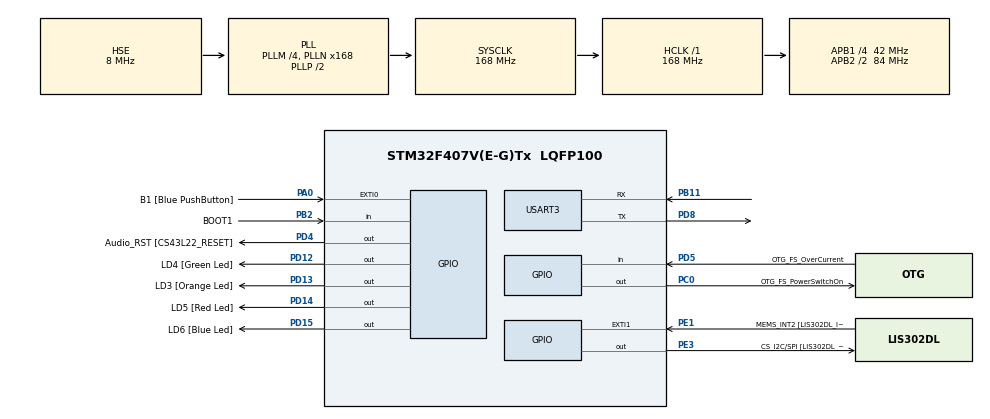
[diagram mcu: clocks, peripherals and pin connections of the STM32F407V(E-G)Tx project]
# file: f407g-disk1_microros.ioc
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Dma.Request0=USART3_RX
Dma.Request1=USART3_TX
Dma.USART3_RX.0.Direction=DMA_PERIPH_TO_MEMORY
Dma.USART3_RX.0.FIFOMode=DMA_FIFOMODE_DISABLE
Dma.USART3_RX.0.Instance=DMA1_Stream1
Dma.USART3_RX.0.MemDataAlignment=DMA_MDATAALIGN_BYTE
Dma.USART3_RX.0.MemInc=DMA_MINC_ENABLE
Dma.USART3_RX.0.Mode=DMA_CIRCULAR
Dma.USART3_RX.0.PeriphDataAlignment=DMA_PDATAALIGN_BYTE
Dma.USART3_RX.0.PeriphInc=DMA_PINC_DISABLE
Dma.USART3_RX.0.Priority=DMA_PRIORITY_VERY_HIGH
Dma.USART3_TX.1.Direction=DMA_MEMORY_TO_PERIPH
Dma.USART3_TX.1.FIFOMode=DMA_FIFOMODE_DISABLE
Dma.USART3_TX.1.Instance=DMA1_Stream3
Dma.USART3_TX.1.MemDataAlignment=DMA_MDATAALIGN_BYTE
Dma.USART3_TX.1.MemInc=DMA_MINC_ENABLE
Dma.USART3_TX.1.Mode=DMA_NORMAL
Dma.USART3_TX.1.PeriphDataAlignment=DMA_PDATAALIGN_BYTE
Dma.USART3_TX.1.PeriphInc=DMA_PINC_DISABLE
Dma.USART3_TX.1.Priority=DMA_PRIORITY_VERY_HIGH
FREERTOS.Tasks01=defaultTask,24,3000,StartDefaultTask,Default,NULL,Static,defaultTaskBuffer,defaultTaskControlBlock
Mcu.Family=STM32F4
Mcu.Name=STM32F407V(E-G)Tx
Mcu.Package=LQFP100
NVIC.DMA1_Stream1_IRQn=true\:5\:0\:false\:false\:true\:true\:false\:true\:true
NVIC.DMA1_Stream3_IRQn=true\:5\:0\:false\:false\:true\:true\:false\:true\:true
NVIC.PriorityGroup=NVIC_PRIORITYGROUP_4
NVIC.TIM1_UP_TIM10_IRQn=true\:15\:0\:false\:false\:true\:false\:false\:true\:true
NVIC.TimeBase=TIM1_UP_TIM10_IRQn
NVIC.TimeBaseIP=TIM1
NVIC.USART3_IRQn=true\:5\:0\:false\:false\:true\:true\:true\:true\:true
PA0-WKUP.GPIO_Label=B1 [Blue PushButton]
PA0-WKUP.Signal=GPXTI0
PA10.GPIO_Label=OTG_FS_ID
PA10.GPIO_Mode=GPIO_MODE_AF_PP
PA10.GPIO_PuPd=GPIO_NOPULL
PA10.GPIO_Speed=GPIO_SPEED_FREQ_LOW
PA10.Signal=USB_OTG_FS_ID
PA11.GPIO_Label=OTG_FS_DM
PA11.GPIO_Mode=GPIO_MODE_AF_PP
PA11.GPIO_PuPd=GPIO_NOPULL
PA11.GPIO_Speed=GPIO_SPEED_FREQ_LOW
PA11.Signal=USB_OTG_FS_DM
PA12.GPIO_Label=OTG_FS_DP
PA12.GPIO_Mode=GPIO_MODE_AF_PP
PA12.GPIO_PuPd=GPIO_NOPULL
PA12.GPIO_Speed=GPIO_SPEED_FREQ_LOW
PA12.Signal=USB_OTG_FS_DP
PA13.GPIO_Label=SWDIO
PA13.Mode=Serial_Wire
PA13.Signal=SYS_JTMS-SWDIO
PA14.GPIO_Label=SWCLK
PA14.Mode=Serial_Wire
PA14.Signal=SYS_JTCK-SWCLK
PA4.GPIO_Label=I2S3_WS [CS43L22_LRCK]
PA4.GPIO_Mode=GPIO_MODE_AF_PP
PA4.GPIO_PuPd=GPIO_NOPULL
PA4.GPIO_Speed=GPIO_SPEED_FREQ_LOW
PA4.Signal=I2S3_WS
PA5.GPIO_Label=SPI1_SCK [LIS302DL_SCL/SPC]
PA5.GPIO_Mode=GPIO_MODE_AF_PP
PA5.GPIO_PuPd=GPIO_NOPULL
PA5.GPIO_Speed=GPIO_SPEED_FREQ_LOW
PA5.Signal=SPI1_SCK
PA6.GPIO_Label=SPI1_MISO [LIS302DL_SDO]
PA6.GPIO_Mode=GPIO_MODE_AF_PP
PA6.GPIO_PuPd=GPIO_NOPULL
PA6.GPIO_Speed=GPIO_SPEED_FREQ_LOW
PA6.Signal=SPI1_MISO
PA7.GPIO_Label=SPI1_MOSI [LIS302DL_SDA/SDI/SDO]
PA7.GPIO_Mode=GPIO_MODE_AF_PP
PA7.GPIO_PuPd=GPIO_NOPULL
PA7.GPIO_Speed=GPIO_SPEED_FREQ_LOW
PA7.Signal=SPI1_MOSI
PA9.GPIO_Label=VBUS_FS
PA9.GPIO_Mode=GPIO_MODE_INPUT
PA9.GPIO_PuPd=GPIO_NOPULL
PA9.Signal=USB_OTG_FS_VBUS
PB10.GPIO_Label=CLK_IN [MP45DT02_CLK]
PB10.GPIO_Mode=GPIO_MODE_AF_PP
PB10.GPIO_PuPd=GPIO_NOPULL
PB10.GPIO_Speed=GPIO_SPEED_FREQ_LOW
PB10.Signal=I2S2_CK
PB11.Mode=Asynchronous
PB11.Signal=USART3_RX
PB2.GPIO_Label=BOOT1
PB2.GPIO_Mode=GPIO_MODE_INPUT
PB2.GPIO_PuPd=GPIO_NOPULL
PB2.Signal=GPIO_Input
PB3.GPIO_Label=SWO
PB3.Signal=SYS_JTDO-SWO
PB6.GPIO_Label=Audio_SCL [CS43L22_SCL]
PB6.GPIO_Mode=GPIO_MODE_AF_OD
PB6.GPIO_PuPd=GPIO_NOPULL
PB6.GPIO_Speed=GPIO_SPEED_FREQ_LOW
PB6.Signal=I2C1_SCL
PB9.GPIO_Label=Audio_SDA [CS43L22_SDA]
PB9.GPIO_Mode=GPIO_MODE_AF_OD
PB9.GPIO_PuPd=GPIO_NOPULL
PB9.GPIO_Speed=GPIO_SPEED_FREQ_LOW
PB9.Signal=I2C1_SDA
PC0.GPIO_Label=OTG_FS_PowerSwitchOn
PC0.GPIO_PuPd=GPIO_NOPULL
PC0.GPIO_Speed=GPIO_SPEED_FREQ_LOW
PC0.PinState=GPIO_PIN_SET
PC0.Signal=GPIO_Output
PC10.GPIO_Label=I2S3_SCK [CS43L22_SCLK]
PC10.GPIO_Mode=GPIO_MODE_AF_PP
PC10.GPIO_PuPd=GPIO_NOPULL
PC10.GPIO_Speed=GPIO_SPEED_FREQ_LOW
PC10.Signal=I2S3_CK
PC12.GPIO_Label=I2S3_SD [CS43L22_SDIN]
PC12.GPIO_Mode=GPIO_MODE_AF_PP
PC12.GPIO_PuPd=GPIO_NOPULL
PC12.GPIO_Speed=GPIO_SPEED_FREQ_LOW
PC12.Signal=I2S3_SD
PC14-OSC32_IN.GPIO_Label=PC14-OSC32_IN
PC14-OSC32_IN.Signal=RCC_OSC32_IN
PC15-OSC32_OUT.GPIO_Label=PC15-OSC32_OUT
PC15-OSC32_OUT.Signal=RCC_OSC32_OUT
PC3.GPIO_Label=PDM_OUT [MP45DT02_DOUT]
PC3.GPIO_Mode=GPIO_MODE_AF_PP
PC3.GPIO_PuPd=GPIO_NOPULL
PC3.GPIO_Speed=GPIO_SPEED_FREQ_LOW
PC3.Signal=I2S2_SD
PC7.GPIO_Label=I2S3_MCK [CS43L22_MCLK]
PC7.GPIO_Mode=GPIO_MODE_AF_PP
PC7.GPIO_PuPd=GPIO_NOPULL
PC7.GPIO_Speed=GPIO_SPEED_FREQ_LOW
PC7.Signal=I2S3_MCK
PD12.GPIO_Label=LD4 [Green Led]
PD12.GPIO_PuPd=GPIO_NOPULL
PD12.GPIO_Speed=GPIO_SPEED_FREQ_LOW
PD12.Signal=GPIO_Output
PD13.GPIO_Label=LD3 [Orange Led]
PD13.GPIO_PuPd=GPIO_NOPULL
PD13.GPIO_Speed=GPIO_SPEED_FREQ_LOW
PD13.Signal=GPIO_Output
PD14.GPIO_Label=LD5 [Red Led]
PD14.GPIO_PuPd=GPIO_NOPULL
PD14.GPIO_Speed=GPIO_SPEED_FREQ_LOW
PD14.Signal=GPIO_Output
PD15.GPIO_Label=LD6 [Blue Led]
PD15.GPIO_PuPd=GPIO_NOPULL
PD15.GPIO_Speed=GPIO_SPEED_FREQ_LOW
PD15.Signal=GPIO_Output
PD4.GPIO_Label=Audio_RST [CS43L22_RESET]
PD4.GPIO_PuPd=GPIO_NOPULL
PD4.GPIO_Speed=GPIO_SPEED_FREQ_LOW
PD4.Signal=GPIO_Output
PD5.GPIO_Label=OTG_FS_OverCurrent
PD5.GPIO_Mode=GPIO_MODE_INPUT
PD5.GPIO_PuPd=GPIO_NOPULL
PD5.Signal=GPIO_Input
PD8.Mode=Asynchronous
PD8.Signal=USART3_TX
PE1.GPIO_Label=MEMS_INT2 [LIS302DL_INT2]
PE1.GPIO_ModeDefaultEXTI=GPIO_MODE_EVT_RISING
PE1.GPIO_PuPd=GPIO_NOPULL
PE1.Signal=GPXTI1
PE3.GPIO_Label=CS_I2C/SPI [LIS302DL_CS_I2C/SPI]
PE3.GPIO_PuPd=GPIO_NOPULL
PE3.GPIO_Speed=GPIO_SPEED_FREQ_LOW
PE3.Signal=GPIO_Output
PH0-OSC_IN.GPIO_Label=PH0-OSC_IN
PH0-OSC_IN.Mode=HSE-External-Oscillator
PH0-OSC_IN.Signal=RCC_OSC_IN
PH1-OSC_OUT.GPIO_Label=PH1-OSC_OUT
PH1-OSC_OUT.Mode=HSE-External-Oscillator
PH1-OSC_OUT.Signal=RCC_OSC_OUT
ProjectManager.HeapSize=0x200
ProjectManager.StackSize=0x400
ProjectManager.TargetToolchain=Makefile
RCC.48MHZClocksFreq_Value=48000000
RCC.AHBFreq_Value=168000000
RCC.APB1CLKDivider=RCC_HCLK_DIV4
RCC.APB1Freq_Value=42000000
RCC.APB1TimFreq_Value=84000000
RCC.APB2CLKDivider=RCC_HCLK_DIV2
RCC.APB2Freq_Value=84000000
RCC.APB2TimFreq_Value=168000000
RCC.CortexFreq_Value=168000000
RCC.HCLKFreq_Value=168000000
RCC.HSE_VALUE=8000000
RCC.HSI_VALUE=16000000
RCC.LSE_VALUE=32768
RCC.PLLM=4
RCC.PLLN=168
RCC.PLLQ=7
RCC.PLLSourceVirtual=RCC_PLLSOURCE_HSE
RCC.SYSCLKFreq_VALUE=168000000
RCC.SYSCLKSource=RCC_SYSCLKSOURCE_PLLCLK
RCC.VCOOutputFreq_Value=336000000
USART3.VirtualMode=VM_ASYNC
VP_FREERTOS_VS_CMSIS_V2.Mode=CMSIS_V2
VP_SYS_VS_tim1.Mode=TIM1
board=STM32F407G-DISC1

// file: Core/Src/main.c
/* USER CODE BEGIN Header */
/**
  ******************************************************************************
  * @file           : main.c
  * @brief          : Main program body
  ******************************************************************************
  * @attention
  *
  * Copyright (c) 2023 STMicroelectronics.
  * All rights reserved.
  *
  * This software is licensed under terms that can be found in the LICENSE file
  * in the root directory of this software component.
  * If no LICENSE file comes with this software, it is provided AS-IS.
  *
  ******************************************************************************
  */
/* USER CODE END Header */
#include "main.h"
#include "cmsis_os.h"
#include "dma.h"
#include "usart.h"
#include "gpio.h"

void SystemClock_Config(void);
void MX_FREERTOS_Init(void);

int main(void)
{

  /* MCU Configuration--------------------------------------------------------*/

  /* Reset of all peripherals, Initializes the Flash interface and the Systick. */
  HAL_Init();

  /* Configure the system clock */
  SystemClock_Config();

  /* Initialize all configured peripherals */
  MX_GPIO_Init();
  MX_DMA_Init();
  MX_USART3_UART_Init();

  /* Init scheduler */
  osKernelInitialize();  /* Call init function for freertos objects (in freertos.c) */
  MX_FREERTOS_Init();

  /* Start scheduler */
  osKernelStart();

  /* We should never get here as control is now taken by the scheduler */
  /* Infinite loop */
  while (1)
  {

  }
}

void SystemClock_Config(void)
{
  RCC_OscInitTypeDef RCC_OscInitStruct = {0};
  RCC_ClkInitTypeDef RCC_ClkInitStruct = {0};

  /** Configure the main internal regulator output voltage
  */
  __HAL_RCC_PWR_CLK_ENABLE();
  __HAL_PWR_VOLTAGESCALING_CONFIG(PWR_REGULATOR_VOLTAGE_SCALE1);

  /** Initializes the RCC Oscillators according to the specified parameters
  * in the RCC_OscInitTypeDef structure.
  */
  RCC_OscInitStruct.OscillatorType = RCC_OSCILLATORTYPE_HSE;
  RCC_OscInitStruct.HSEState = RCC_HSE_ON;
  RCC_OscInitStruct.PLL.PLLState = RCC_PLL_ON;
  RCC_OscInitStruct.PLL.PLLSource = RCC_PLLSOURCE_HSE;
  RCC_OscInitStruct.PLL.PLLM = 4;
  RCC_OscInitStruct.PLL.PLLN = 168;
  RCC_OscInitStruct.PLL.PLLP = RCC_PLLP_DIV2;
  RCC_OscInitStruct.PLL.PLLQ = 7;
  if (HAL_RCC_OscConfig(&RCC_OscInitStruct) != HAL_OK)
  {
    Error_Handler();
  }

  /** Initializes the CPU, AHB and APB buses clocks
  */
  RCC_ClkInitStruct.ClockType = RCC_CLOCKTYPE_HCLK|RCC_CLOCKTYPE_SYSCLK
                              |RCC_CLOCKTYPE_PCLK1|RCC_CLOCKTYPE_PCLK2;
  RCC_ClkInitStruct.SYSCLKSource = RCC_SYSCLKSOURCE_PLLCLK;
  RCC_ClkInitStruct.AHBCLKDivider = RCC_SYSCLK_DIV1;
  RCC_ClkInitStruct.APB1CLKDivider = RCC_HCLK_DIV4;
  RCC_ClkInitStruct.APB2CLKDivider = RCC_HCLK_DIV2;

  if (HAL_RCC_ClockConfig(&RCC_ClkInitStruct, FLASH_LATENCY_5) != HAL_OK)
  {
    Error_Handler();
  }
}

void HAL_TIM_PeriodElapsedCallback(TIM_HandleTypeDef *htim)
{
  if (htim->Instance == TIM1) {
    HAL_IncTick();
  }
}

void Error_Handler(void)
{
  __disable_irq();
  while (1)
  {
  }
}

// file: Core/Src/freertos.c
/* USER CODE BEGIN Header */
/**
  ******************************************************************************
  * File Name          : freertos.c
  * Description        : Code for freertos applications
  ******************************************************************************
  * @attention
  *
  * Copyright (c) 2023 STMicroelectronics.
  * All rights reserved.
  *
  * This software is licensed under terms that can be found in the LICENSE file
  * in the root directory of this software component.
  * If no LICENSE file comes with this software, it is provided AS-IS.
  *
  ******************************************************************************
  */
/* USER CODE END Header */

#include "FreeRTOS.h"
#include "task.h"
#include "main.h"
#include "cmsis_os.h"

/* USER CODE BEGIN Includes */
#include <stdbool.h>
#include <rcl/rcl.h>
#include <rcl/error_handling.h>
#include <rclc/rclc.h>
#include <rclc/executor.h>
#include <uxr/client/transport.h>
#include <rmw_microxrcedds_c/config.h>
#include <rmw_microros/rmw_microros.h>

#include <std_msgs/msg/int32.h>
#include <example_interfaces/srv/add_two_ints.h>

#include "usart.h"
/* USER CODE END Includes */

typedef StaticTask_t osStaticThreadDef_t;

/* USER CODE BEGIN Variables */
//osThreadId_t publisherTaskHandle;
//uint32_t publisherTaskBuffer[ 500 ];
//osStaticThreadDef_t publisherTaskControlBlock;
//const osThreadAttr_t publisherTask_attributes = {
//  .name = "publisherTask",
//  .cb_mem = &publisherTaskControlBlock,
//  .cb_size = sizeof(publisherTaskControlBlock),
//  .stack_mem = &publisherTaskBuffer[0],
//  .stack_size = sizeof(publisherTaskBuffer),
//  .priority = (osPriority_t) osPriorityNormal,
//};
//
//osThreadId_t another_publisherTaskHandle;
//uint32_t another_publisherTaskBuffer[ 500 ];
//osStaticThreadDef_t another_publisherTaskControlBlock;
//const osThreadAttr_t another_publisherTask_attributes = {
//  .name = "another_publisherTask",
//  .cb_mem = &another_publisherTaskControlBlock,
//  .cb_size = sizeof(another_publisherTaskControlBlock),
//  .stack_mem = &another_publisherTaskBuffer[0],
//  .stack_size = sizeof(another_publisherTaskBuffer),
//  .priority = (osPriority_t) osPriorityNormal,
//};

//BaseType_t xReturned;
//TaskHandle_t xHandle = NULL;

/* USER CODE END Variables */
/* Definitions for defaultTask */
osThreadId_t defaultTaskHandle;
uint32_t defaultTaskBuffer[ 500 ];
osStaticThreadDef_t defaultTaskControlBlock;
const osThreadAttr_t defaultTask_attributes = {
  .name = "defaultTask",
  .cb_mem = &defaultTaskControlBlock,
  .cb_size = sizeof(defaultTaskControlBlock),
  .stack_mem = &defaultTaskBuffer[0],
  .stack_size = sizeof(defaultTaskBuffer),
  .priority = (osPriority_t) osPriorityNormal,
};

/* USER CODE BEGIN FunctionPrototypes */
bool cubemx_transport_open(struct uxrCustomTransport * transport);
bool cubemx_transport_close(struct uxrCustomTransport * transport);
size_t cubemx_transport_write(struct uxrCustomTransport* transport, const uint8_t * buf, size_t len, uint8_t * err);
size_t cubemx_transport_read(struct uxrCustomTransport* transport, uint8_t* buf, size_t len, int timeout, uint8_t* err);

void * microros_allocate(size_t size, void * state);
void microros_deallocate(void * pointer, void * state);
void * microros_reallocate(void * pointer, size_t size, void * state);
void * microros_zero_allocate(size_t number_of_elements, size_t size_of_element, void * state);

void StartPublisherTask(void *argument);
void StartAnotherPublisherTask(void *argument);
/* USER CODE END FunctionPrototypes */

void StartDefaultTask(void *argument);

void MX_FREERTOS_Init(void); /* (MISRA C 2004 rule 8.1) */

void MX_FREERTOS_Init(void) {

  /* Create the thread(s) */
  /* creation of defaultTask */
  defaultTaskHandle = osThreadNew(StartDefaultTask, NULL, &defaultTask_attributes);

  /* USER CODE BEGIN RTOS_THREADS */
//  publisherTaskHandle = osThreadNew(StartPublisherTask, NULL, &publisherTask_attributes);
//  another_publisherTaskHandle = osThreadNew(StartAnotherPublisherTask, NULL, &another_publisherTask_attributes);

  /* USER CODE END RTOS_THREADS */

  /* USER CODE BEGIN RTOS_EVENTS */
  /* add events, ... */

  // micro-ROS configuration

  rmw_uros_set_custom_transport(
    true,
    (void *) &huart3,
    cubemx_transport_open,
    cubemx_transport_close,
    cubemx_transport_write,
    cubemx_transport_read);

  rcl_allocator_t freeRTOS_allocator = rcutils_get_zero_initialized_allocator();
  freeRTOS_allocator.allocate = microros_allocate;
  freeRTOS_allocator.deallocate = microros_deallocate;
  freeRTOS_allocator.reallocate = microros_reallocate;
  freeRTOS_allocator.zero_allocate =  microros_zero_allocate;

  if (!rcutils_set_default_allocator(&freeRTOS_allocator)) {
      printf("Error on default allocators (line %d)\n", __LINE__);
  }

  /* USER CODE END RTOS_EVENTS */

}

void StartDefaultTask(void *argument)
{
  /* USER CODE BEGIN StartDefaultTask */

  // micro-ROS app

  std_msgs__msg__Int32 msg;
  rclc_support_t support;
  rcl_allocator_t allocator;
  rcl_node_t node;
  rcl_init_options_t init_options; // object for custom settings(DOMAIN ID = 1)
  rclc_executor_t executor;  //executor for service
  rcl_service_t service;  //custom service

  // Service message objects
  example_interfaces__srv__AddTwoInts_Response response_msg;
  example_interfaces__srv__AddTwoInts_Request request_msg;

  allocator = rcl_get_default_allocator();

  init_options = rcl_get_zero_initialized_init_options();
  rcl_init_options_init(&init_options, allocator);
  rcl_init_options_set_domain_id(&init_options, 1);

  //create init_options with custom settings
  rclc_support_init_with_options(&support, 0, NULL, &init_options, &allocator);

  // create node
  rclc_node_init_default(&node, "cubemx_node_service", "", &support);

  executor = rclc_executor_get_zero_initialized_executor();
  unsigned int num_handles = 1;  //handle only one service
  rclc_executor_init(&executor, &support.context, num_handles, &allocator);

  rclc_service_init_default(
    &service,
	&node,
	ROSIDL_GET_SRV_TYPE_SUPPORT(example_interfaces, srv, AddTwoInts),
	"/addtwoints");

  // Function prototype:
  void (* rclc_service_callback_t)(const void *, void *);

  // Implementation service callback:
  void service_callback(const void * request_msg, void * response_msg){
    // Cast messages to expected types
    example_interfaces__srv__AddTwoInts_Request * req_in =
      (example_interfaces__srv__AddTwoInts_Request *) request_msg;
    example_interfaces__srv__AddTwoInts_Response * res_in =
      (example_interfaces__srv__AddTwoInts_Response *) response_msg;

    // Handle request message and set the response message values
    printf("Client requested sum of %d and %d.\n", (int) req_in->a, (int) req_in->b);
    res_in->sum = req_in->a + req_in->b;
  }

  // Add server callback to the executor
  rclc_executor_add_service(
    &executor,
	&service,
	&request_msg,
    &response_msg,
	service_callback);

//  //starting executor
  rclc_executor_spin(&executor);

  while(1){

  }

  /* USER CODE END StartDefaultTask */
}

/* USER CODE BEGIN Application */
//void StartAnotherPublisherTask(void *argument)
//{
//	  // micro-ROS app
//
//	  std_msgs__msg__Int32 msg2;
//	  rclc_support_t support2;
//	  rcl_allocator_t allocator2;
//	  rcl_node_t node2;
//	  rcl_init_options_t init_options2; // object for custom settings(DOMAIN ID = 1)
//	  rcl_publisher_t publisher2;
//
//
//	  allocator2 = rcl_get_default_allocator();
//
//	  init_options2 = rcl_get_zero_initialized_init_options();
//	  rcl_init_options_init(&init_options2, allocator2);
//	  rcl_init_options_set_domain_id(&init_options2, 1);
//
//	  //create init_options with custom settings
//	  rclc_support_init_with_options(&support2, 0, NULL, &init_options2, &allocator2);
//
//	  // create node
//	  rclc_node_init_default(&node2, "cubemx_node_another_publisher", "", &support2);
//
//	  // create publisher
//	  rclc_publisher_init_default(
//	    &publisher2,
//	    &node2,
//	    ROSIDL_GET_MSG_TYPE_SUPPORT(std_msgs, msg, Int32),
//	    "cubemx_another_publisher");
//
//	msg2.data = 0;
//	while(1)
//	  {
//	    rcl_ret_t ret;
//
//	    ret = rcl_publish(&publisher2, &msg2, NULL);
//	    if (ret != RCL_RET_OK)
//	    {
//	      printf("Error publishing (line %d)\n", __LINE__);
//	    }
//
//	    msg2.data++;
//	    osDelay(10);
//	  }
//}
//
//void StartPublisherTask(void *argument)
//{
//	  // micro-ROS app
//
//	  std_msgs__msg__Int32 msg;
////	  std_msgs__msg__Int32 msg2;
//	  rclc_support_t support;
//	  rcl_allocator_t allocator;
//	  rcl_node_t node1;
////	  rcl_node_t node2;
//	  rcl_init_options_t init_options; // object for custom settings(DOMAIN ID = 1)
//	  rcl_publisher_t publisher1;
////	  rcl_publisher_t publisher2;
//
//
//	  allocator = rcl_get_default_allocator();
//
//	  init_options = rcl_get_zero_initialized_init_options();
//	  rcl_init_options_init(&init_options, allocator);
//	  rcl_init_options_set_domain_id(&init_options, 1);
//
//	  //create init_options with custom settings
//	  rclc_support_init_with_options(&support, 0, NULL, &init_options, &allocator);
//
//	  // create node
//	  rclc_node_init_default(&node1, "cubemx_node_publisher", "", &support);
//
//	  // create publisher
//	  rclc_publisher_init_default(
//	    &publisher1,
//	    &node1,
//	    ROSIDL_GET_MSG_TYPE_SUPPORT(std_msgs, msg, Int32),
//	    "cubemx_publisher");
////
////
////	  // create node
////	  rclc_node_init_default(&node2, "cubemx_node_another_publisher", "", &support);
////
////	  // create publisher
////	  rclc_publisher_init_default(
////	    &publisher2,
////	    &node2,
////	    ROSIDL_GET_MSG_TYPE_SUPPORT(std_msgs, msg, Int32),
////	    "cubemx_another_publisher");
//
//
//	msg.data = 0;
//	while(1)
//	  {
//	    rcl_ret_t ret;
////	    msg2.data = 2;
//
//	    ret = rcl_publish(&publisher1, &msg, NULL);
////	    ret = rcl_publish(&publisher2, &msg2, NULL);
//	    if (ret != RCL_RET_OK)
//	    {
//	      printf("Error publishing (line %d)\n", __LINE__);
//	    }
//
//	    msg.data++;
//	    osDelay(10);
//	  }
//}
/* USER CODE END Application */
